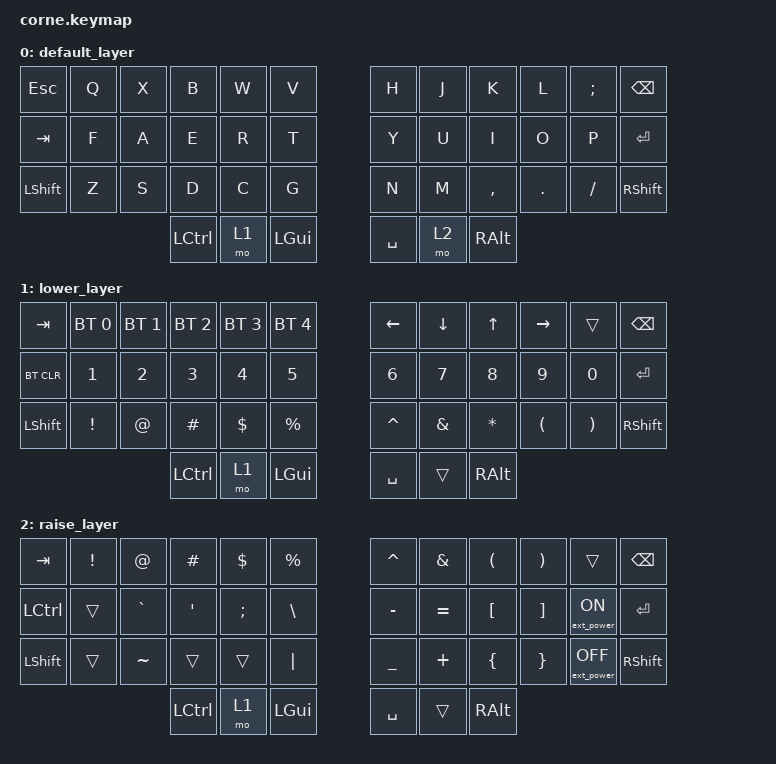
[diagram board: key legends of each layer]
/*
 * Copyright (c) 2020 The ZMK Contributors
 *
 * SPDX-License-Identifier: MIT
 */

#include <dt-bindings/zmk/ext_power.h>
#include <behaviors.dtsi>
#include <dt-bindings/zmk/keys.h>
#include <dt-bindings/zmk/bt.h>

/ {
        keymap {
                compatible = "zmk,keymap";

                default_layer {
// -----------------------------------------------------------------------------------------
// |  TAB |  Q  |  W  |  E  |  R  |  T  |   |  H  |  J   |  K  |  L  |  ;  | BSPC |
// | CTRL |  A  |  S  |  D  |  F  |  G  |   |  Y  |  U   |  I  |  O  |  P  |  '   |
// | SHFT |  Z  |  X  |  C  |  V  |  B  |   |  N  |  M   |  ,  |  .  |  /  | ESC  |
//                    | GUI | LWR | SPC |   | SPACE | RSE  | ALT |
                        bindings = <
   &kp ESC   &kp Q &kp X &kp B &kp W &kp V   &kp H &kp J  &kp K     &kp L   &kp SEMI &kp BSPC
   &kp TAB   &kp F &kp A &kp E &kp R &kp T   &kp Y &kp U  &kp I     &kp O   &kp P    &kp RET
   &kp LSHFT &kp Z &kp S &kp D &kp C &kp G   &kp N &kp M  &kp COMMA &kp DOT &kp FSLH &kp RSHFT
                  &kp LCTRL &mo 1 &kp LGUI   &kp SPACE &mo 2 &kp RALT
                        >;
                };
                lower_layer {
// -----------------------------------------------------------------------------------------
// |  TAB | BT1 | BT2 | BT3 | BT4 | BT5 |   | LFT | DWN |  UP | RGT |     | BSPC |
// | BTCLR|  1  |  2  |  3  |  4  |  5  |   |  6  |  7  |  8  |  9  |  0  |      |
// | SHFT |  !  |  @  |  #  |  $  |  %  |   |  ^  |  &  |  *  |  (  |  )  |  RET |
//                    | GUI |     | SPC |   | SPC |     | ALT |
                        bindings = <
   &kp TAB    &bt BT_SEL 0 &bt BT_SEL 1 &bt BT_SEL 2 &bt BT_SEL 3 &bt BT_SEL 4      &kp LEFT   &kp DOWN &kp UP        &kp RIGHT &trans   &kp BSPC
   &bt BT_CLR &kp N1       &kp N2       &kp N3       &kp N4       &kp N5            &kp N6     &kp N7   &kp N8        &kp N9    &kp N0   &kp RET
   &kp LSHFT  &kp EXCL     &kp AT       &kp HASH      &kp DLLR    &kp PRCNT         &kp CARET  &kp AMPS &kp ASTRK     &kp LPAR  &kp RPAR &kp RSHFT
                                        &kp LCTRL     &mo 1       &kp LGUI          &kp SPACE  &trans   &kp RALT
                        >;
                };

                raise_layer {
// -----------------------------------------------------------------------------------------
// |  TAB |     |     |     |     |     |   |     |     |  (  |  )  |     | BSPC |
// | CTRL |     |  `  |  '  |  ;  |  \  |   |  -  |  =  |  [  |  ]  |     |      |
// | SHFT |     |  ~  |     |     | "|" |   |  _  |  +  |  {  |  }  |     |      |
//                    | GUI |     | SPC |   | SPC |     | ALT |
                        bindings = <
   &kp  TAB  &kp EXCL &kp AT    &kp HASH    &kp DLLR    &kp PRCNT               &kp CARET   &kp AMPS  &kp LPAR      &kp RPAR    &trans             &kp BSPC
   &kp LCTRL &trans   &kp GRAVE &kp SQT     &kp SEMI    &kp BSLH                &kp MINUS   &kp EQUAL &kp LBKT      &kp RBKT    &ext_power EP_ON   &kp RET
   &kp LSHFT &trans   &kp TILDE &trans      &trans      &kp PIPE                &kp UNDER   &kp PLUS  &kp LBRC      &kp RBRC    &ext_power EP_OFF  &kp RSHFT                           
                                &kp LCTRL   &mo 1       &kp LGUI                &kp SPACE   &trans    &kp RALT
                        >;
                };
        };
};
